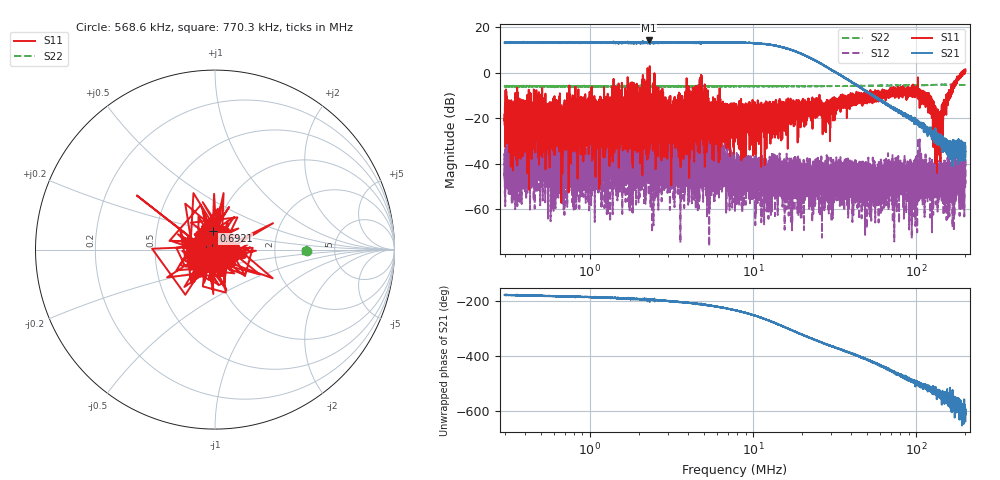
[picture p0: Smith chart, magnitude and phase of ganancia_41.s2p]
# Hz S DB R 50
! CMT, M5065, 19127446, 24.2.4/2
! Date: 11/1/2024 4:39:21 PM
! Data: Format (Calibration Info)
! Freq	S11:dB/Ang(F2)	S21:dB/Ang(F2)	S12:dB/Ang(F2)	S22:dB/Ang(F2)
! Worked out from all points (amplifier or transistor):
!   9000 points, 300 kHz to 200 MHz, reference 50 ohm
!   highest |S21| = 14.3 dB at 2.29 MHz (marker M1)
!   |S21| within 3 dB of that: start of sweep to 15.09 MHz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
!   unconditionally stable (mu >= 1): start of sweep to 1.791 MHz; 2.486 MHz to 4.636 MHz; 5.056 MHz to 187.7 MHz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
!   at 886.8 kHz: K = 9.16, MAG = 14.6 dB, |S12| = -41.1 dB
!   at 7.749 MHz: K = 13.08, MAG = 14.9 dB, |S12| = -44.8 dB
!   at 200 MHz: K = -1755.22, MSG = 8.2 dB, |S12| = -48.8 dB
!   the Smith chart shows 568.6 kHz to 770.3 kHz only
!   S11 on the Smith chart (normalised r, x): 568.6 kHz: 1.35, -0.06; 692.1 kHz: 0.96, +0.20; 770.3 kHz: 0.81, -0.03
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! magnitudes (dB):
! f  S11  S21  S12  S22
! 300 kHz  -20.4  13.3  -45.1  -5.9
! 376.1 kHz  -30.0  13.3  -40.3  -6.0
! 568.6 kHz  -16.4  13.2  -38.4  -5.8
! 692.1 kHz  -19.6  13.3  -26.5  -5.9
! 770.3 kHz  -19.2  13.4  -41.6  -6.0
! 886.8 kHz  -27.4  13.2  -41.1  -5.8
! 1.133 MHz  -29.8  13.2  -36.7  -5.8
! 1.268 MHz  -29.3  13.2  -47.6  -5.8
! 2.29 MHz  1.4  14.3  -46.5  -5.9
! 2.621 MHz  -19.2  13.1  -41.2  -5.8
! 2.905 MHz  -10.7  13.3  -41.5  -5.8
! 4.761 MHz  -26.6  13.4  -39.6  -5.8
! 7.749 MHz  -14.0  13.4  -44.8  -5.9
! 22.91 MHz  -12.9  6.3  -43.2  -5.8
! 27.24 MHz  -18.2  3.3  -42.3  -5.8
! 67.71 MHz  -8.9  -14.2  -43.5  -5.5
! 95.71 MHz  -7.0  -20.1  -44.5  -5.5
! 111.1 MHz  -9.7  -22.8  -44.3  -5.4
! 122.9 MHz  -14.7  -27.5  -42.4  -5.3
! 137.5 MHz  -19.1  -29.9  -42.9  -5.2
! 161 MHz  -8.1  -31.3  -41.6  -5.2
! 200 MHz  1.6  -32.3  -48.8  -5.3
